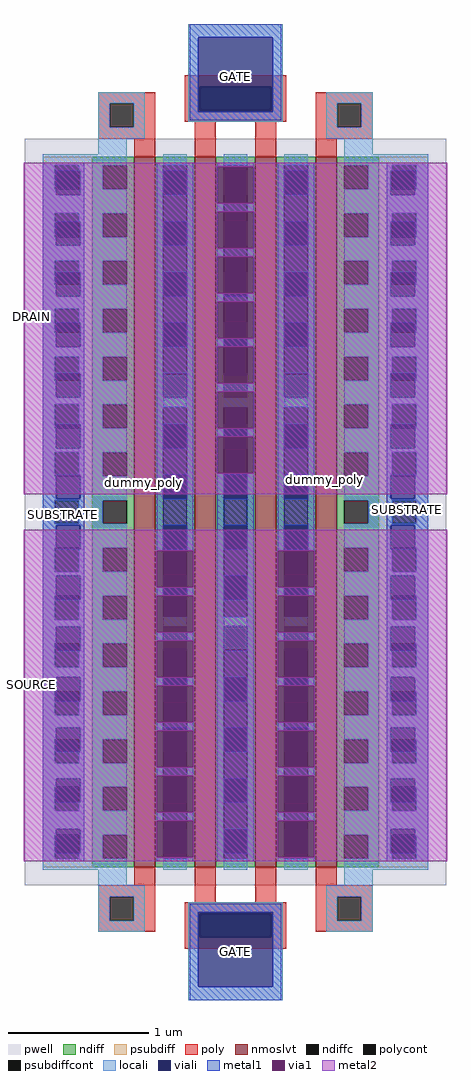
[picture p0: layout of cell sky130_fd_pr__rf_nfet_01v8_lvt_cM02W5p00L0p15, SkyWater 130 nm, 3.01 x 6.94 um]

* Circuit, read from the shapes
.subckt sky130_fd_pr__rf_nfet_01v8_lvt_cM02W5p00L0p15 GATE SUBSTRATE SOURCE DRAIN
XM1 SOURCE SUBSTRATE SUBSTRATE SUBSTRATE sky130_fd_pr__nfet_01v8_lvt w=5.05 l=0.15 m=2
XM2 DRAIN GATE SOURCE SUBSTRATE sky130_fd_pr__nfet_01v8_lvt w=5.05 l=0.15 m=2
.ends

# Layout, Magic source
magic
tech sky130A
magscale 1 2
<< pwell >>
rect 15 163 615 1225
<< nmoslvt >>
rect 171 189 201 1199
rect 257 189 287 1199
rect 343 189 373 1199
rect 429 189 459 1199
<< ndiff >>
rect 111 1187 171 1199
rect 111 1153 126 1187
rect 160 1153 171 1187
rect 111 1119 171 1153
rect 111 1085 126 1119
rect 160 1085 171 1119
rect 111 1051 171 1085
rect 111 1017 126 1051
rect 160 1017 171 1051
rect 111 983 171 1017
rect 111 949 126 983
rect 160 949 171 983
rect 111 915 171 949
rect 111 881 126 915
rect 160 881 171 915
rect 111 847 171 881
rect 111 813 126 847
rect 160 813 171 847
rect 111 779 171 813
rect 111 745 126 779
rect 160 745 171 779
rect 111 711 171 745
rect 111 677 126 711
rect 160 677 171 711
rect 111 643 171 677
rect 111 609 126 643
rect 160 609 171 643
rect 111 575 171 609
rect 111 541 126 575
rect 160 541 171 575
rect 111 507 171 541
rect 111 473 126 507
rect 160 473 171 507
rect 111 439 171 473
rect 111 405 126 439
rect 160 405 171 439
rect 111 371 171 405
rect 111 337 126 371
rect 160 337 171 371
rect 111 303 171 337
rect 111 269 126 303
rect 160 269 171 303
rect 111 235 171 269
rect 111 201 126 235
rect 160 201 171 235
rect 111 189 171 201
rect 201 1187 257 1199
rect 201 889 212 1187
rect 246 889 257 1187
rect 201 843 257 889
rect 201 545 212 843
rect 246 545 257 843
rect 201 499 257 545
rect 201 201 212 499
rect 246 201 257 499
rect 201 189 257 201
rect 287 1187 343 1199
rect 287 889 298 1187
rect 332 889 343 1187
rect 287 843 343 889
rect 287 545 298 843
rect 332 545 343 843
rect 287 499 343 545
rect 287 201 298 499
rect 332 201 343 499
rect 287 189 343 201
rect 373 1187 429 1199
rect 373 889 384 1187
rect 418 889 429 1187
rect 373 843 429 889
rect 373 545 384 843
rect 418 545 429 843
rect 373 499 429 545
rect 373 201 384 499
rect 418 201 429 499
rect 373 189 429 201
rect 459 1187 519 1199
rect 459 1153 470 1187
rect 504 1153 519 1187
rect 459 1119 519 1153
rect 459 1085 470 1119
rect 504 1085 519 1119
rect 459 1051 519 1085
rect 459 1017 470 1051
rect 504 1017 519 1051
rect 459 983 519 1017
rect 459 949 470 983
rect 504 949 519 983
rect 459 915 519 949
rect 459 881 470 915
rect 504 881 519 915
rect 459 847 519 881
rect 459 813 470 847
rect 504 813 519 847
rect 459 779 519 813
rect 459 745 470 779
rect 504 745 519 779
rect 459 711 519 745
rect 459 677 470 711
rect 504 677 519 711
rect 459 643 519 677
rect 459 609 470 643
rect 504 609 519 643
rect 459 575 519 609
rect 459 541 470 575
rect 504 541 519 575
rect 459 507 519 541
rect 459 473 470 507
rect 504 473 519 507
rect 459 439 519 473
rect 459 405 470 439
rect 504 405 519 439
rect 459 371 519 405
rect 459 337 470 371
rect 504 337 519 371
rect 459 303 519 337
rect 459 269 470 303
rect 504 269 519 303
rect 459 235 519 269
rect 459 201 470 235
rect 504 201 519 235
rect 459 189 519 201
<< ndiffc >>
rect 126 1153 160 1187
rect 126 1085 160 1119
rect 126 1017 160 1051
rect 126 949 160 983
rect 126 881 160 915
rect 126 813 160 847
rect 126 745 160 779
rect 126 677 160 711
rect 126 609 160 643
rect 126 541 160 575
rect 126 473 160 507
rect 126 405 160 439
rect 126 337 160 371
rect 126 269 160 303
rect 126 201 160 235
rect 212 889 246 1187
rect 212 545 246 843
rect 212 201 246 499
rect 298 889 332 1187
rect 298 545 332 843
rect 298 201 332 499
rect 384 889 418 1187
rect 384 545 418 843
rect 384 201 418 499
rect 470 1153 504 1187
rect 470 1085 504 1119
rect 470 1017 504 1051
rect 470 949 504 983
rect 470 881 504 915
rect 470 813 504 847
rect 470 745 504 779
rect 470 677 504 711
rect 470 609 504 643
rect 470 541 504 575
rect 470 473 504 507
rect 470 405 504 439
rect 470 337 504 371
rect 470 269 504 303
rect 470 201 504 235
<< psubdiff >>
rect 41 1187 111 1199
rect 41 1153 58 1187
rect 92 1153 111 1187
rect 41 1119 111 1153
rect 41 1085 58 1119
rect 92 1085 111 1119
rect 41 1051 111 1085
rect 41 1017 58 1051
rect 92 1017 111 1051
rect 41 983 111 1017
rect 41 949 58 983
rect 92 949 111 983
rect 41 915 111 949
rect 41 881 58 915
rect 92 881 111 915
rect 41 847 111 881
rect 41 813 58 847
rect 92 813 111 847
rect 41 779 111 813
rect 41 745 58 779
rect 92 745 111 779
rect 41 711 111 745
rect 41 677 58 711
rect 92 677 111 711
rect 41 643 111 677
rect 41 609 58 643
rect 92 609 111 643
rect 41 575 111 609
rect 41 541 58 575
rect 92 541 111 575
rect 41 507 111 541
rect 41 473 58 507
rect 92 473 111 507
rect 41 439 111 473
rect 41 405 58 439
rect 92 405 111 439
rect 41 371 111 405
rect 41 337 58 371
rect 92 337 111 371
rect 41 303 111 337
rect 41 269 58 303
rect 92 269 111 303
rect 41 235 111 269
rect 41 201 58 235
rect 92 201 111 235
rect 41 189 111 201
rect 519 1187 589 1199
rect 519 1153 538 1187
rect 572 1153 589 1187
rect 519 1119 589 1153
rect 519 1085 538 1119
rect 572 1085 589 1119
rect 519 1051 589 1085
rect 519 1017 538 1051
rect 572 1017 589 1051
rect 519 983 589 1017
rect 519 949 538 983
rect 572 949 589 983
rect 519 915 589 949
rect 519 881 538 915
rect 572 881 589 915
rect 519 847 589 881
rect 519 813 538 847
rect 572 813 589 847
rect 519 779 589 813
rect 519 745 538 779
rect 572 745 589 779
rect 519 711 589 745
rect 519 677 538 711
rect 572 677 589 711
rect 519 643 589 677
rect 519 609 538 643
rect 572 609 589 643
rect 519 575 589 609
rect 519 541 538 575
rect 572 541 589 575
rect 519 507 589 541
rect 519 473 538 507
rect 572 473 589 507
rect 519 439 589 473
rect 519 405 538 439
rect 572 405 589 439
rect 519 371 589 405
rect 519 337 538 371
rect 572 337 589 371
rect 519 303 589 337
rect 519 269 538 303
rect 572 269 589 303
rect 519 235 589 269
rect 519 201 538 235
rect 572 201 589 235
rect 519 189 589 201
<< psubdiffcont >>
rect 58 1153 92 1187
rect 58 1085 92 1119
rect 58 1017 92 1051
rect 58 949 92 983
rect 58 881 92 915
rect 58 813 92 847
rect 58 745 92 779
rect 58 677 92 711
rect 58 609 92 643
rect 58 541 92 575
rect 58 473 92 507
rect 58 405 92 439
rect 58 337 92 371
rect 58 269 92 303
rect 58 201 92 235
rect 538 1153 572 1187
rect 538 1085 572 1119
rect 538 1017 572 1051
rect 538 949 572 983
rect 538 881 572 915
rect 538 813 572 847
rect 538 745 572 779
rect 538 677 572 711
rect 538 609 572 643
rect 538 541 572 575
rect 538 473 572 507
rect 538 405 572 439
rect 538 337 572 371
rect 538 269 572 303
rect 538 201 572 235
<< poly >>
rect 243 1299 387 1315
rect 120 1275 201 1291
rect 120 1241 136 1275
rect 170 1241 201 1275
rect 243 1265 264 1299
rect 366 1265 387 1299
rect 243 1249 387 1265
rect 429 1275 510 1291
rect 120 1225 201 1241
rect 171 1199 201 1225
rect 257 1199 287 1249
rect 343 1199 373 1249
rect 429 1241 460 1275
rect 494 1241 510 1275
rect 429 1225 510 1241
rect 429 1199 459 1225
rect 171 163 201 189
rect 120 147 201 163
rect 120 113 136 147
rect 170 113 201 147
rect 257 139 287 189
rect 343 139 373 189
rect 429 163 459 189
rect 429 147 510 163
rect 120 97 201 113
rect 243 123 387 139
rect 243 89 264 123
rect 366 89 387 123
rect 429 113 460 147
rect 494 113 510 147
rect 429 97 510 113
rect 243 73 387 89
<< polycont >>
rect 136 1241 170 1275
rect 264 1265 366 1299
rect 460 1241 494 1275
rect 136 113 170 147
rect 264 89 366 123
rect 460 113 494 147
<< locali >>
rect 248 1369 382 1388
rect 120 1275 186 1291
rect 120 1241 136 1275
rect 170 1241 186 1275
rect 248 1263 262 1369
rect 368 1263 382 1369
rect 248 1249 382 1263
rect 444 1275 510 1291
rect 120 1225 186 1241
rect 444 1241 460 1275
rect 494 1241 510 1275
rect 444 1225 510 1241
rect 120 1203 160 1225
rect 470 1203 510 1225
rect 41 1187 160 1203
rect 41 1153 58 1187
rect 92 1179 126 1187
rect 94 1153 126 1179
rect 41 1145 60 1153
rect 94 1145 160 1153
rect 41 1119 160 1145
rect 41 1085 58 1119
rect 92 1107 126 1119
rect 94 1085 126 1107
rect 41 1073 60 1085
rect 94 1073 160 1085
rect 41 1051 160 1073
rect 41 1017 58 1051
rect 92 1035 126 1051
rect 94 1017 126 1035
rect 41 1001 60 1017
rect 94 1001 160 1017
rect 41 983 160 1001
rect 41 949 58 983
rect 92 963 126 983
rect 94 949 126 963
rect 41 929 60 949
rect 94 929 160 949
rect 41 915 160 929
rect 41 881 58 915
rect 92 891 126 915
rect 94 881 126 891
rect 41 857 60 881
rect 94 857 160 881
rect 41 847 160 857
rect 41 813 58 847
rect 92 819 126 847
rect 94 813 126 819
rect 41 785 60 813
rect 94 785 160 813
rect 41 779 160 785
rect 41 745 58 779
rect 92 747 126 779
rect 94 745 126 747
rect 41 713 60 745
rect 94 713 160 745
rect 41 711 160 713
rect 41 677 58 711
rect 92 677 126 711
rect 41 675 160 677
rect 41 643 60 675
rect 94 643 160 675
rect 41 609 58 643
rect 94 641 126 643
rect 92 609 126 641
rect 41 603 160 609
rect 41 575 60 603
rect 94 575 160 603
rect 41 541 58 575
rect 94 569 126 575
rect 92 541 126 569
rect 41 531 160 541
rect 41 507 60 531
rect 94 507 160 531
rect 41 473 58 507
rect 94 497 126 507
rect 92 473 126 497
rect 41 459 160 473
rect 41 439 60 459
rect 94 439 160 459
rect 41 405 58 439
rect 94 425 126 439
rect 92 405 126 425
rect 41 387 160 405
rect 41 371 60 387
rect 94 371 160 387
rect 41 337 58 371
rect 94 353 126 371
rect 92 337 126 353
rect 41 315 160 337
rect 41 303 60 315
rect 94 303 160 315
rect 41 269 58 303
rect 94 281 126 303
rect 92 269 126 281
rect 41 243 160 269
rect 41 235 60 243
rect 94 235 160 243
rect 41 201 58 235
rect 94 209 126 235
rect 92 201 126 209
rect 41 185 160 201
rect 212 1187 246 1203
rect 212 843 246 857
rect 212 531 246 545
rect 212 185 246 201
rect 298 1187 332 1203
rect 298 843 332 857
rect 298 531 332 545
rect 298 185 332 201
rect 384 1187 418 1203
rect 384 843 418 857
rect 384 531 418 545
rect 384 185 418 201
rect 470 1187 589 1203
rect 504 1179 538 1187
rect 504 1153 536 1179
rect 572 1153 589 1187
rect 470 1145 536 1153
rect 570 1145 589 1153
rect 470 1119 589 1145
rect 504 1107 538 1119
rect 504 1085 536 1107
rect 572 1085 589 1119
rect 470 1073 536 1085
rect 570 1073 589 1085
rect 470 1051 589 1073
rect 504 1035 538 1051
rect 504 1017 536 1035
rect 572 1017 589 1051
rect 470 1001 536 1017
rect 570 1001 589 1017
rect 470 983 589 1001
rect 504 963 538 983
rect 504 949 536 963
rect 572 949 589 983
rect 470 929 536 949
rect 570 929 589 949
rect 470 915 589 929
rect 504 891 538 915
rect 504 881 536 891
rect 572 881 589 915
rect 470 857 536 881
rect 570 857 589 881
rect 470 847 589 857
rect 504 819 538 847
rect 504 813 536 819
rect 572 813 589 847
rect 470 785 536 813
rect 570 785 589 813
rect 470 779 589 785
rect 504 747 538 779
rect 504 745 536 747
rect 572 745 589 779
rect 470 713 536 745
rect 570 713 589 745
rect 470 711 589 713
rect 504 677 538 711
rect 572 677 589 711
rect 470 675 589 677
rect 470 643 536 675
rect 570 643 589 675
rect 504 641 536 643
rect 504 609 538 641
rect 572 609 589 643
rect 470 603 589 609
rect 470 575 536 603
rect 570 575 589 603
rect 504 569 536 575
rect 504 541 538 569
rect 572 541 589 575
rect 470 531 589 541
rect 470 507 536 531
rect 570 507 589 531
rect 504 497 536 507
rect 504 473 538 497
rect 572 473 589 507
rect 470 459 589 473
rect 470 439 536 459
rect 570 439 589 459
rect 504 425 536 439
rect 504 405 538 425
rect 572 405 589 439
rect 470 387 589 405
rect 470 371 536 387
rect 570 371 589 387
rect 504 353 536 371
rect 504 337 538 353
rect 572 337 589 371
rect 470 315 589 337
rect 470 303 536 315
rect 570 303 589 315
rect 504 281 536 303
rect 504 269 538 281
rect 572 269 589 303
rect 470 243 589 269
rect 470 235 536 243
rect 570 235 589 243
rect 504 209 536 235
rect 504 201 538 209
rect 572 201 589 235
rect 470 185 589 201
rect 120 163 160 185
rect 470 163 510 185
rect 120 147 186 163
rect 120 113 136 147
rect 170 113 186 147
rect 444 147 510 163
rect 120 97 186 113
rect 248 125 382 139
rect 248 19 262 125
rect 368 19 382 125
rect 444 113 460 147
rect 494 113 510 147
rect 444 97 510 113
rect 248 0 382 19
<< viali >>
rect 262 1299 368 1369
rect 262 1265 264 1299
rect 264 1265 366 1299
rect 366 1265 368 1299
rect 262 1263 368 1265
rect 60 1153 92 1179
rect 92 1153 94 1179
rect 60 1145 94 1153
rect 60 1085 92 1107
rect 92 1085 94 1107
rect 60 1073 94 1085
rect 60 1017 92 1035
rect 92 1017 94 1035
rect 60 1001 94 1017
rect 60 949 92 963
rect 92 949 94 963
rect 60 929 94 949
rect 60 881 92 891
rect 92 881 94 891
rect 60 857 94 881
rect 60 813 92 819
rect 92 813 94 819
rect 60 785 94 813
rect 60 745 92 747
rect 92 745 94 747
rect 60 713 94 745
rect 60 643 94 675
rect 60 641 92 643
rect 92 641 94 643
rect 60 575 94 603
rect 60 569 92 575
rect 92 569 94 575
rect 60 507 94 531
rect 60 497 92 507
rect 92 497 94 507
rect 60 439 94 459
rect 60 425 92 439
rect 92 425 94 439
rect 60 371 94 387
rect 60 353 92 371
rect 92 353 94 371
rect 60 303 94 315
rect 60 281 92 303
rect 92 281 94 303
rect 60 235 94 243
rect 60 209 92 235
rect 92 209 94 235
rect 212 1145 246 1179
rect 212 1073 246 1107
rect 212 1001 246 1035
rect 212 929 246 963
rect 212 889 246 891
rect 212 857 246 889
rect 212 785 246 819
rect 212 713 246 747
rect 212 641 246 675
rect 212 569 246 603
rect 212 499 246 531
rect 212 497 246 499
rect 212 425 246 459
rect 212 353 246 387
rect 212 281 246 315
rect 212 209 246 243
rect 298 1145 332 1179
rect 298 1073 332 1107
rect 298 1001 332 1035
rect 298 929 332 963
rect 298 889 332 891
rect 298 857 332 889
rect 298 785 332 819
rect 298 713 332 747
rect 298 641 332 675
rect 298 569 332 603
rect 298 499 332 531
rect 298 497 332 499
rect 298 425 332 459
rect 298 353 332 387
rect 298 281 332 315
rect 298 209 332 243
rect 384 1145 418 1179
rect 384 1073 418 1107
rect 384 1001 418 1035
rect 384 929 418 963
rect 384 889 418 891
rect 384 857 418 889
rect 384 785 418 819
rect 384 713 418 747
rect 384 641 418 675
rect 384 569 418 603
rect 384 499 418 531
rect 384 497 418 499
rect 384 425 418 459
rect 384 353 418 387
rect 384 281 418 315
rect 384 209 418 243
rect 536 1153 538 1179
rect 538 1153 570 1179
rect 536 1145 570 1153
rect 536 1085 538 1107
rect 538 1085 570 1107
rect 536 1073 570 1085
rect 536 1017 538 1035
rect 538 1017 570 1035
rect 536 1001 570 1017
rect 536 949 538 963
rect 538 949 570 963
rect 536 929 570 949
rect 536 881 538 891
rect 538 881 570 891
rect 536 857 570 881
rect 536 813 538 819
rect 538 813 570 819
rect 536 785 570 813
rect 536 745 538 747
rect 538 745 570 747
rect 536 713 570 745
rect 536 643 570 675
rect 536 641 538 643
rect 538 641 570 643
rect 536 575 570 603
rect 536 569 538 575
rect 538 569 570 575
rect 536 507 570 531
rect 536 497 538 507
rect 538 497 570 507
rect 536 439 570 459
rect 536 425 538 439
rect 538 425 570 439
rect 536 371 570 387
rect 536 353 538 371
rect 538 353 570 371
rect 536 303 570 315
rect 536 281 538 303
rect 538 281 570 303
rect 536 235 570 243
rect 536 209 538 235
rect 538 209 570 235
rect 262 123 368 125
rect 262 89 264 123
rect 264 89 366 123
rect 366 89 368 123
rect 262 19 368 89
<< metal1 >>
rect 250 1369 380 1388
rect 250 1263 262 1369
rect 368 1263 380 1369
rect 250 1251 380 1263
rect 41 1179 100 1191
rect 41 1145 60 1179
rect 94 1145 100 1179
rect 41 1107 100 1145
rect 41 1073 60 1107
rect 94 1073 100 1107
rect 41 1035 100 1073
rect 41 1001 60 1035
rect 94 1001 100 1035
rect 41 963 100 1001
rect 41 929 60 963
rect 94 929 100 963
rect 41 891 100 929
rect 41 857 60 891
rect 94 857 100 891
rect 41 819 100 857
rect 41 785 60 819
rect 94 785 100 819
rect 41 747 100 785
rect 41 713 60 747
rect 94 713 100 747
rect 41 675 100 713
rect 41 641 60 675
rect 94 641 100 675
rect 41 603 100 641
rect 41 569 60 603
rect 94 569 100 603
rect 41 531 100 569
rect 41 497 60 531
rect 94 497 100 531
rect 41 459 100 497
rect 41 425 60 459
rect 94 425 100 459
rect 41 387 100 425
rect 41 353 60 387
rect 94 353 100 387
rect 41 315 100 353
rect 41 281 60 315
rect 94 281 100 315
rect 41 243 100 281
rect 41 209 60 243
rect 94 209 100 243
rect 41 197 100 209
rect 203 1179 255 1191
rect 203 1145 212 1179
rect 246 1145 255 1179
rect 203 1107 255 1145
rect 203 1073 212 1107
rect 246 1073 255 1107
rect 203 1035 255 1073
rect 203 1001 212 1035
rect 246 1001 255 1035
rect 203 963 255 1001
rect 203 929 212 963
rect 246 929 255 963
rect 203 891 255 929
rect 203 857 212 891
rect 246 857 255 891
rect 203 819 255 857
rect 203 785 212 819
rect 246 785 255 819
rect 203 747 255 785
rect 203 713 212 747
rect 246 713 255 747
rect 203 675 255 713
rect 203 641 212 675
rect 246 641 255 675
rect 203 639 255 641
rect 203 575 212 587
rect 246 575 255 587
rect 203 511 212 523
rect 246 511 255 523
rect 203 447 212 459
rect 246 447 255 459
rect 203 387 255 395
rect 203 383 212 387
rect 246 383 255 387
rect 203 319 255 331
rect 203 255 255 267
rect 203 197 255 203
rect 289 1185 341 1191
rect 289 1121 341 1133
rect 289 1057 341 1069
rect 289 1001 298 1005
rect 332 1001 341 1005
rect 289 993 341 1001
rect 289 929 298 941
rect 332 929 341 941
rect 289 865 298 877
rect 332 865 341 877
rect 289 801 298 813
rect 332 801 341 813
rect 289 747 341 749
rect 289 713 298 747
rect 332 713 341 747
rect 289 675 341 713
rect 289 641 298 675
rect 332 641 341 675
rect 289 603 341 641
rect 289 569 298 603
rect 332 569 341 603
rect 289 531 341 569
rect 289 497 298 531
rect 332 497 341 531
rect 289 459 341 497
rect 289 425 298 459
rect 332 425 341 459
rect 289 387 341 425
rect 289 353 298 387
rect 332 353 341 387
rect 289 315 341 353
rect 289 281 298 315
rect 332 281 341 315
rect 289 243 341 281
rect 289 209 298 243
rect 332 209 341 243
rect 289 197 341 209
rect 375 1179 427 1191
rect 375 1145 384 1179
rect 418 1145 427 1179
rect 375 1107 427 1145
rect 375 1073 384 1107
rect 418 1073 427 1107
rect 375 1035 427 1073
rect 375 1001 384 1035
rect 418 1001 427 1035
rect 375 963 427 1001
rect 375 929 384 963
rect 418 929 427 963
rect 375 891 427 929
rect 375 857 384 891
rect 418 857 427 891
rect 375 819 427 857
rect 375 785 384 819
rect 418 785 427 819
rect 375 747 427 785
rect 375 713 384 747
rect 418 713 427 747
rect 375 675 427 713
rect 375 641 384 675
rect 418 641 427 675
rect 375 639 427 641
rect 375 575 384 587
rect 418 575 427 587
rect 375 511 384 523
rect 418 511 427 523
rect 375 447 384 459
rect 418 447 427 459
rect 375 387 427 395
rect 375 383 384 387
rect 418 383 427 387
rect 375 319 427 331
rect 375 255 427 267
rect 375 197 427 203
rect 530 1179 589 1191
rect 530 1145 536 1179
rect 570 1145 589 1179
rect 530 1107 589 1145
rect 530 1073 536 1107
rect 570 1073 589 1107
rect 530 1035 589 1073
rect 530 1001 536 1035
rect 570 1001 589 1035
rect 530 963 589 1001
rect 530 929 536 963
rect 570 929 589 963
rect 530 891 589 929
rect 530 857 536 891
rect 570 857 589 891
rect 530 819 589 857
rect 530 785 536 819
rect 570 785 589 819
rect 530 747 589 785
rect 530 713 536 747
rect 570 713 589 747
rect 530 675 589 713
rect 530 641 536 675
rect 570 641 589 675
rect 530 603 589 641
rect 530 569 536 603
rect 570 569 589 603
rect 530 531 589 569
rect 530 497 536 531
rect 570 497 589 531
rect 530 459 589 497
rect 530 425 536 459
rect 570 425 589 459
rect 530 387 589 425
rect 530 353 536 387
rect 570 353 589 387
rect 530 315 589 353
rect 530 281 536 315
rect 570 281 589 315
rect 530 243 589 281
rect 530 209 536 243
rect 570 209 589 243
rect 530 197 589 209
rect 250 125 380 137
rect 250 19 262 125
rect 368 19 380 125
rect 250 0 380 19
<< via1 >>
rect 203 603 255 639
rect 203 587 212 603
rect 212 587 246 603
rect 246 587 255 603
rect 203 569 212 575
rect 212 569 246 575
rect 246 569 255 575
rect 203 531 255 569
rect 203 523 212 531
rect 212 523 246 531
rect 246 523 255 531
rect 203 497 212 511
rect 212 497 246 511
rect 246 497 255 511
rect 203 459 255 497
rect 203 425 212 447
rect 212 425 246 447
rect 246 425 255 447
rect 203 395 255 425
rect 203 353 212 383
rect 212 353 246 383
rect 246 353 255 383
rect 203 331 255 353
rect 203 315 255 319
rect 203 281 212 315
rect 212 281 246 315
rect 246 281 255 315
rect 203 267 255 281
rect 203 243 255 255
rect 203 209 212 243
rect 212 209 246 243
rect 246 209 255 243
rect 203 203 255 209
rect 289 1179 341 1185
rect 289 1145 298 1179
rect 298 1145 332 1179
rect 332 1145 341 1179
rect 289 1133 341 1145
rect 289 1107 341 1121
rect 289 1073 298 1107
rect 298 1073 332 1107
rect 332 1073 341 1107
rect 289 1069 341 1073
rect 289 1035 341 1057
rect 289 1005 298 1035
rect 298 1005 332 1035
rect 332 1005 341 1035
rect 289 963 341 993
rect 289 941 298 963
rect 298 941 332 963
rect 332 941 341 963
rect 289 891 341 929
rect 289 877 298 891
rect 298 877 332 891
rect 332 877 341 891
rect 289 857 298 865
rect 298 857 332 865
rect 332 857 341 865
rect 289 819 341 857
rect 289 813 298 819
rect 298 813 332 819
rect 332 813 341 819
rect 289 785 298 801
rect 298 785 332 801
rect 332 785 341 801
rect 289 749 341 785
rect 375 603 427 639
rect 375 587 384 603
rect 384 587 418 603
rect 418 587 427 603
rect 375 569 384 575
rect 384 569 418 575
rect 418 569 427 575
rect 375 531 427 569
rect 375 523 384 531
rect 384 523 418 531
rect 418 523 427 531
rect 375 497 384 511
rect 384 497 418 511
rect 418 497 427 511
rect 375 459 427 497
rect 375 425 384 447
rect 384 425 418 447
rect 418 425 427 447
rect 375 395 427 425
rect 375 353 384 383
rect 384 353 418 383
rect 418 353 427 383
rect 375 331 427 353
rect 375 315 427 319
rect 375 281 384 315
rect 384 281 418 315
rect 418 281 427 315
rect 375 267 427 281
rect 375 243 427 255
rect 375 209 384 243
rect 384 209 418 243
rect 418 209 427 243
rect 375 203 427 209
<< metal2 >>
rect 14 1185 616 1191
rect 14 1133 289 1185
rect 341 1133 616 1185
rect 14 1121 616 1133
rect 14 1069 289 1121
rect 341 1069 616 1121
rect 14 1057 616 1069
rect 14 1005 289 1057
rect 341 1005 616 1057
rect 14 993 616 1005
rect 14 941 289 993
rect 341 941 616 993
rect 14 929 616 941
rect 14 877 289 929
rect 341 877 616 929
rect 14 865 616 877
rect 14 813 289 865
rect 341 813 616 865
rect 14 801 616 813
rect 14 749 289 801
rect 341 749 616 801
rect 14 719 616 749
rect 14 639 616 669
rect 14 587 203 639
rect 255 587 375 639
rect 427 587 616 639
rect 14 575 616 587
rect 14 523 203 575
rect 255 523 375 575
rect 427 523 616 575
rect 14 511 616 523
rect 14 459 203 511
rect 255 459 375 511
rect 427 459 616 511
rect 14 447 616 459
rect 14 395 203 447
rect 255 395 375 447
rect 427 395 616 447
rect 14 383 616 395
rect 14 331 203 383
rect 255 331 375 383
rect 427 331 616 383
rect 14 319 616 331
rect 14 267 203 319
rect 255 267 375 319
rect 427 267 616 319
rect 14 255 616 267
rect 14 203 203 255
rect 255 203 375 255
rect 427 203 616 255
rect 14 197 616 203
<< labels >>
flabel comment s 184 736 184 736 0 FreeSans 180 90 0 0 dummy_poly
flabel comment s 441 740 441 740 0 FreeSans 180 90 0 0 dummy_poly
flabel metal1 s 255 1288 374 1339 0 FreeSans 200 0 0 0 GATE
port 1 nsew
flabel metal1 s 255 44 374 95 0 FreeSans 200 0 0 0 GATE
port 1 nsew
flabel metal1 s 530 683 589 713 0 FreeSans 200 90 0 0 SUBSTRATE
port 2 nsew
flabel metal1 s 41 675 100 705 0 FreeSans 200 90 0 0 SUBSTRATE
port 2 nsew
flabel metal2 s 14 384 35 512 7 FreeSans 300 180 0 0 SOURCE
port 3 nsew
flabel metal2 s 14 908 35 1036 7 FreeSans 300 180 0 0 DRAIN
port 4 nsew
<< properties >>
string GDS_FILE $PDKPATH/libs.ref/sky130_fd_pr/gds/sky130_fd_pr.gds
string GDS_END 6694490
string GDS_START 6677082
<< end >>
